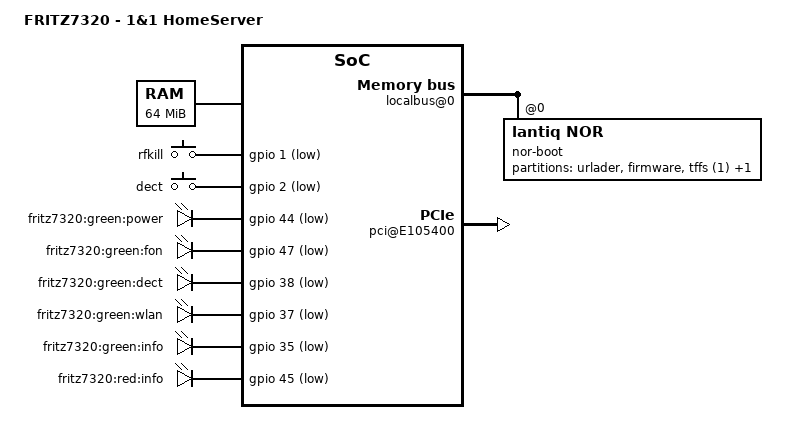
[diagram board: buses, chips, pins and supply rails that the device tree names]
/dts-v1/;

/include/ "ar9.dtsi"

/ {
	model = "FRITZ7320 - 1&1 HomeServer";

	chosen {
		bootargs = "console=ttyLTQ0,115200 init=/etc/preinit";

		leds {
			boot = &power;
			failsafe = &power;
			running = &power;

			internet = &info_green;
			dsl = &power;
			wifi = &wlan;
		};
	};

	memory@0 {
		reg = <0x0 0x4000000>;
	};

	fpi@10000000 {
		localbus@0 {
			nor-boot@0 {
				compatible = "lantiq,nor";
				bank-width = <2>;
				reg = <0 0x0 0x1000000>;
				#address-cells = <1>;
				#size-cells = <1>;

				partition@0 {
					label = "urlader";
					reg = <0x00000 0x20000>;
					read-only;
				};

				partition@20000 {
					label = "firmware";
					reg = <0x20000 0xf60000>;
				};

				partition@f80000 {
					label = "tffs (1)";
					reg = <0xf80000 0x40000>;
					read-only;
				};

				partition@fc0000 {
					label = "tffs (2)";
					reg = <0xfc0000 0x40000>;
					read-only;
				};
			};
		};

		gpio: pinmux@E100B10 {
			pinctrl-names = "default";
			pinctrl-0 = <&state_default>;

			state_default: pinmux {
				pci {
					lantiq,groups = "gnt1", "req1", "req2", "req3", "req4", "gnt2", "gnt3", "gnt4";
					lantiq,function = "pci";
				};
				pci-in {
					lantiq,groups = "req1", "req2", "req3", "req4";
					lantiq,output = <0>;
					lantiq,open-drain = <1>;
					lantiq,pull = <2>;
				};
				pci-out {
					lantiq,groups = "gnt1", "gnt2", "gnt3", "gnt4";
					lantiq,output = <1>;
					lantiq,pull = <0>;
				};
			};
		};

		etop@E180000 {
			phy-mode = "mii";
			mac-address = [ 00 11 22 33 44 55 ];
		};

		ifxhcd@E101000 {
			status = "okay";
		};

		pci@E105400 {
			status = "okay";
			req-mask = <0xf>;
			lantiq,bus-clock = <33333333>;
			interrupt-map-mask = <0xf800 0x0 0x0 0x7>;
			interrupt-map = <0x7000 0 0 1 &icu0 30 1>;
			gpio-reset = <&gpio 21 0>;
			req-mask = <0xf>; /* GNT1 */
		};
	};

	gpio-keys-polled {
		compatible = "gpio-keys-polled";
		#address-cells = <1>;
		#size-cells = <0>;
		poll-interval = <100>;

		rfkill {
			label = "rfkill";
			gpios = <&gpio 1 1>;
			linux,code = <0xf7>;
		};
		dect {
			label = "dect";
			gpios = <&gpio 2 1>;
			linux,code = <0x102>;
		};
	};

	gpio-leds {
		compatible = "gpio-leds";
		power: power {
			label = "fritz7320:green:power";
			gpios = <&gpio 44 1>;
			default-state = "keep";
		};
		voice {
			label = "fritz7320:green:fon";
			gpios = <&gpio 47 1>;
		};
		dect {
			label = "fritz7320:green:dect";
			gpios = <&gpio 38 1>;
		};
		wlan: wlan {
			label = "fritz7320:green:wlan";
			gpios = <&gpio 37 1>;
		};
		info_green: info_green {
			label = "fritz7320:green:info";
			gpios = <&gpio 35 1>;
		};
		info_red {
			label = "fritz7320:red:info";
			gpios = <&gpio 45 1>;
		};
	};
};
